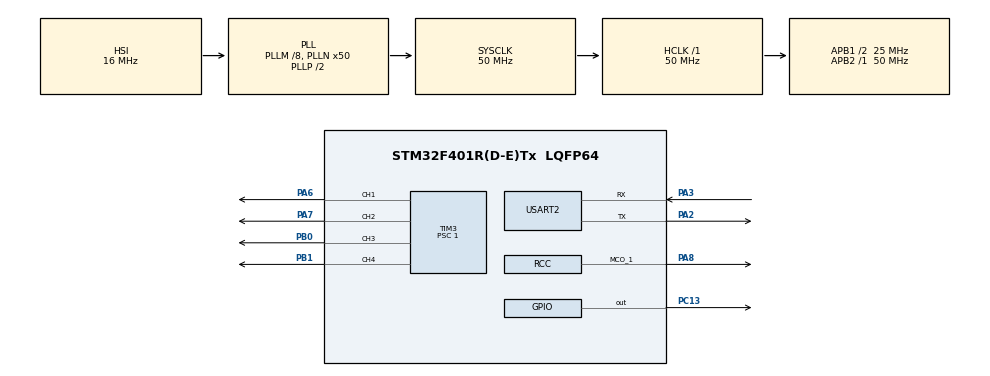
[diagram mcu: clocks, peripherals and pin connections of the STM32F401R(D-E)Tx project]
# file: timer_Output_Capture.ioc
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Mcu.Family=STM32F4
Mcu.Name=STM32F401R(D-E)Tx
Mcu.Package=LQFP64
NVIC.PriorityGroup=NVIC_PRIORITYGROUP_4
NVIC.TIM3_IRQn=true\:0\:0\:false\:false\:true\:true\:true\:true
PA2.Mode=Asynchronous
PA2.Signal=USART2_TX
PA3.Mode=Asynchronous
PA3.Signal=USART2_RX
PA6.Signal=S_TIM3_CH1
PA7.Signal=S_TIM3_CH2
PA8.Mode=Clock-out-1
PA8.Signal=RCC_MCO_1
PB0.Signal=S_TIM3_CH3
PB1.Signal=S_TIM3_CH4
PC13-ANTI_TAMP.Signal=GPIO_Output
PH0\ -\ OSC_IN.Mode=HSE-External-Oscillator
PH0\ -\ OSC_IN.Signal=RCC_OSC_IN
PH1\ -\ OSC_OUT.Mode=HSE-External-Oscillator
PH1\ -\ OSC_OUT.Signal=RCC_OSC_OUT
ProjectManager.HeapSize=0x200
ProjectManager.StackSize=0x400
ProjectManager.TargetToolchain=STM32CubeIDE
RCC.48MHZClocksFreq_Value=25000000
RCC.AHBFreq_Value=50000000
RCC.APB1CLKDivider=RCC_HCLK_DIV2
RCC.APB1Freq_Value=25000000
RCC.APB1TimFreq_Value=50000000
RCC.APB2Freq_Value=50000000
RCC.APB2TimFreq_Value=50000000
RCC.CortexFreq_Value=50000000
RCC.HCLKFreq_Value=50000000
RCC.HSE_VALUE=25000000
RCC.HSI_VALUE=16000000
RCC.LSE_VALUE=32768
RCC.PLLM=8
RCC.PLLN=50
RCC.RCC_MCO1Source=RCC_MCO1SOURCE_HSE
RCC.SYSCLKFreq_VALUE=50000000
RCC.SYSCLKSource=RCC_SYSCLKSOURCE_PLLCLK
RCC.VCOOutputFreq_Value=100000000
SH.S_TIM3_CH1.0=TIM3_CH1,Output Compare1 CH1
SH.S_TIM3_CH2.0=TIM3_CH2,Output Compare2 CH2
SH.S_TIM3_CH3.0=TIM3_CH3,Output Compare3 CH3
SH.S_TIM3_CH4.0=TIM3_CH4,Output Compare4 CH4
TIM3.Channel-Output\ Compare1\ CH1=TIM_CHANNEL_1
TIM3.Channel-Output\ Compare2\ CH2=TIM_CHANNEL_2
TIM3.Channel-Output\ Compare3\ CH3=TIM_CHANNEL_3
TIM3.Channel-Output\ Compare4\ CH4=TIM_CHANNEL_4
TIM3.OCMode_1=TIM_OCMODE_TOGGLE
TIM3.OCMode_2=TIM_OCMODE_TOGGLE
TIM3.OCMode_3=TIM_OCMODE_TOGGLE
TIM3.OCMode_4=TIM_OCMODE_TOGGLE
TIM3.Prescaler=1
TIM3.Pulse-Output\ Compare1\ CH1=25000
TIM3.Pulse-Output\ Compare2\ CH2=12500
TIM3.Pulse-Output\ Compare3\ CH3=6250
TIM3.Pulse-Output\ Compare4\ CH4=3125
USART2.VirtualMode=VM_ASYNC
board=custom

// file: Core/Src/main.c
/* USER CODE BEGIN Header */
/**
  ******************************************************************************
  * @file           : main.c
  * @brief          : Main program body
  ******************************************************************************
  * @attention
  *
  * Copyright (c) 2025 STMicroelectronics.
  * All rights reserved.
  *
  * This software is licensed under terms that can be found in the LICENSE file
  * in the root directory of this software component.
  * If no LICENSE file comes with this software, it is provided AS-IS.
  *
  ******************************************************************************
  */
/* USER CODE END Header */
#include "main.h"

/* USER CODE BEGIN Includes */
#include <stdio.h>
#include <string.h>

/* USER CODE END Includes */

TIM_HandleTypeDef htim3;

UART_HandleTypeDef huart2;

/* USER CODE BEGIN PV */

uint32_t pulse1 = 25000;
uint32_t pulse2 = 12500;
uint32_t pulse3 = 6250;
uint32_t pulse4 = 3125;

/* USER CODE END PV */

void SystemClock_Config(void);
static void MX_GPIO_Init(void);
static void MX_USART2_UART_Init(void);
static void MX_TIM3_Init(void);

int main(void)
{

  /* MCU Configuration--------------------------------------------------------*/

  /* Reset of all peripherals, Initializes the Flash interface and the Systick. */
  HAL_Init();

  /* Configure the system clock */
  SystemClock_Config();

  /* Initialize all configured peripherals */
  MX_GPIO_Init();
  MX_USART2_UART_Init();
  MX_TIM3_Init();
  /* USER CODE BEGIN 2 */
  HAL_TIM_OC_Start_IT(&htim3, TIM_CHANNEL_1);
  HAL_TIM_OC_Start_IT(&htim3, TIM_CHANNEL_2);
  HAL_TIM_OC_Start_IT(&htim3, TIM_CHANNEL_3);
  HAL_TIM_OC_Start_IT(&htim3, TIM_CHANNEL_4);

  /* USER CODE END 2 */

  /* Infinite loop */
  while (1)
  {

  }
}

void SystemClock_Config(void)
{
  RCC_OscInitTypeDef RCC_OscInitStruct = {0};
  RCC_ClkInitTypeDef RCC_ClkInitStruct = {0};

  /** Configure the main internal regulator output voltage
  */
  __HAL_RCC_PWR_CLK_ENABLE();
  __HAL_PWR_VOLTAGESCALING_CONFIG(PWR_REGULATOR_VOLTAGE_SCALE2);

  /** Initializes the RCC Oscillators according to the specified parameters
  * in the RCC_OscInitTypeDef structure.
  */
  RCC_OscInitStruct.OscillatorType = RCC_OSCILLATORTYPE_HSI|RCC_OSCILLATORTYPE_HSE;
  RCC_OscInitStruct.HSEState = RCC_HSE_ON;
  RCC_OscInitStruct.HSIState = RCC_HSI_ON;
  RCC_OscInitStruct.HSICalibrationValue = RCC_HSICALIBRATION_DEFAULT;
  RCC_OscInitStruct.PLL.PLLState = RCC_PLL_ON;
  RCC_OscInitStruct.PLL.PLLSource = RCC_PLLSOURCE_HSI;
  RCC_OscInitStruct.PLL.PLLM = 8;
  RCC_OscInitStruct.PLL.PLLN = 50;
  RCC_OscInitStruct.PLL.PLLP = RCC_PLLP_DIV2;
  RCC_OscInitStruct.PLL.PLLQ = 4;
  if (HAL_RCC_OscConfig(&RCC_OscInitStruct) != HAL_OK)
  {
    Error_Handler();
  }

  /** Initializes the CPU, AHB and APB buses clocks
  */
  RCC_ClkInitStruct.ClockType = RCC_CLOCKTYPE_HCLK|RCC_CLOCKTYPE_SYSCLK
                              |RCC_CLOCKTYPE_PCLK1|RCC_CLOCKTYPE_PCLK2;
  RCC_ClkInitStruct.SYSCLKSource = RCC_SYSCLKSOURCE_PLLCLK;
  RCC_ClkInitStruct.AHBCLKDivider = RCC_SYSCLK_DIV1;
  RCC_ClkInitStruct.APB1CLKDivider = RCC_HCLK_DIV2;
  RCC_ClkInitStruct.APB2CLKDivider = RCC_HCLK_DIV1;

  if (HAL_RCC_ClockConfig(&RCC_ClkInitStruct, FLASH_LATENCY_1) != HAL_OK)
  {
    Error_Handler();
  }
  HAL_RCC_MCOConfig(RCC_MCO1, RCC_MCO1SOURCE_HSE, RCC_MCODIV_1);
}

static void MX_TIM3_Init(void)
{

  TIM_MasterConfigTypeDef sMasterConfig = {0};
  TIM_OC_InitTypeDef sConfigOC = {0};

  htim3.Instance = TIM3;
  htim3.Init.Prescaler = 1;
  htim3.Init.CounterMode = TIM_COUNTERMODE_UP;
  htim3.Init.Period = 65535;
  htim3.Init.ClockDivision = TIM_CLOCKDIVISION_DIV1;
  htim3.Init.AutoReloadPreload = TIM_AUTORELOAD_PRELOAD_DISABLE;
  if (HAL_TIM_OC_Init(&htim3) != HAL_OK)
  {
    Error_Handler();
  }
  sMasterConfig.MasterOutputTrigger = TIM_TRGO_RESET;
  sMasterConfig.MasterSlaveMode = TIM_MASTERSLAVEMODE_DISABLE;
  if (HAL_TIMEx_MasterConfigSynchronization(&htim3, &sMasterConfig) != HAL_OK)
  {
    Error_Handler();
  }
  sConfigOC.OCMode = TIM_OCMODE_TOGGLE;
  sConfigOC.Pulse = 25000;
  sConfigOC.OCPolarity = TIM_OCPOLARITY_HIGH;
  sConfigOC.OCFastMode = TIM_OCFAST_DISABLE;
  if (HAL_TIM_OC_ConfigChannel(&htim3, &sConfigOC, TIM_CHANNEL_1) != HAL_OK)
  {
    Error_Handler();
  }
  sConfigOC.Pulse = 12500;
  if (HAL_TIM_OC_ConfigChannel(&htim3, &sConfigOC, TIM_CHANNEL_2) != HAL_OK)
  {
    Error_Handler();
  }
  sConfigOC.Pulse = 6250;
  if (HAL_TIM_OC_ConfigChannel(&htim3, &sConfigOC, TIM_CHANNEL_3) != HAL_OK)
  {
    Error_Handler();
  }
  sConfigOC.Pulse = 3125;
  if (HAL_TIM_OC_ConfigChannel(&htim3, &sConfigOC, TIM_CHANNEL_4) != HAL_OK)
  {
    Error_Handler();
  }
  HAL_TIM_MspPostInit(&htim3);

}

static void MX_USART2_UART_Init(void)
{

  huart2.Instance = USART2;
  huart2.Init.BaudRate = 115200;
  huart2.Init.WordLength = UART_WORDLENGTH_8B;
  huart2.Init.StopBits = UART_STOPBITS_1;
  huart2.Init.Parity = UART_PARITY_NONE;
  huart2.Init.Mode = UART_MODE_TX_RX;
  huart2.Init.HwFlowCtl = UART_HWCONTROL_NONE;
  huart2.Init.OverSampling = UART_OVERSAMPLING_16;
  if (HAL_UART_Init(&huart2) != HAL_OK)
  {
    Error_Handler();
  }

}

static void MX_GPIO_Init(void)
{
  GPIO_InitTypeDef GPIO_InitStruct = {0};

  /* GPIO Ports Clock Enable */
  __HAL_RCC_GPIOC_CLK_ENABLE();
  __HAL_RCC_GPIOH_CLK_ENABLE();
  __HAL_RCC_GPIOA_CLK_ENABLE();
  __HAL_RCC_GPIOB_CLK_ENABLE();

  /*Configure GPIO pin Output Level */
  HAL_GPIO_WritePin(GPIOC, GPIO_PIN_13, GPIO_PIN_RESET);

  /*Configure GPIO pin : PC13 */
  GPIO_InitStruct.Pin = GPIO_PIN_13;
  GPIO_InitStruct.Mode = GPIO_MODE_OUTPUT_PP;
  GPIO_InitStruct.Pull = GPIO_NOPULL;
  GPIO_InitStruct.Speed = GPIO_SPEED_FREQ_LOW;
  HAL_GPIO_Init(GPIOC, &GPIO_InitStruct);

  /*Configure GPIO pin : PA8 */
  GPIO_InitStruct.Pin = GPIO_PIN_8;
  GPIO_InitStruct.Mode = GPIO_MODE_AF_PP;
  GPIO_InitStruct.Pull = GPIO_NOPULL;
  GPIO_InitStruct.Speed = GPIO_SPEED_FREQ_LOW;
  GPIO_InitStruct.Alternate = GPIO_AF0_MCO;
  HAL_GPIO_Init(GPIOA, &GPIO_InitStruct);

}

/* USER CODE BEGIN 4 */
uint32_t ccr_content;
void HAL_TIM_OC_DelayElapsedCallback(TIM_HandleTypeDef *htim)
{
	if(htim->Channel == HAL_TIM_ACTIVE_CHANNEL_1)
	{
		ccr_content = HAL_TIM_ReadCapturedValue(htim, TIM_CHANNEL_1);
		__HAL_TIM_SET_COMPARE(htim,TIM_CHANNEL_1,ccr_content + pulse1);
	}

	else if(htim->Channel == HAL_TIM_ACTIVE_CHANNEL_2)
	{
		ccr_content = HAL_TIM_ReadCapturedValue(htim, TIM_CHANNEL_2);
		__HAL_TIM_SET_COMPARE(htim,TIM_CHANNEL_2,ccr_content + pulse2);
	}

	else if(htim->Channel == HAL_TIM_ACTIVE_CHANNEL_3)
	{
		ccr_content = HAL_TIM_ReadCapturedValue(htim, TIM_CHANNEL_3);
		__HAL_TIM_SET_COMPARE(htim,TIM_CHANNEL_3,ccr_content + pulse3);
	}

	else if(htim->Channel == HAL_TIM_ACTIVE_CHANNEL_4)
	{
		ccr_content = HAL_TIM_ReadCapturedValue(htim, TIM_CHANNEL_4);
		__HAL_TIM_SET_COMPARE(htim,TIM_CHANNEL_4,ccr_content + pulse4);
	}

}

/* USER CODE END 4 */

void Error_Handler(void)
{
  __disable_irq();
  while (1)
  {
  }
}
